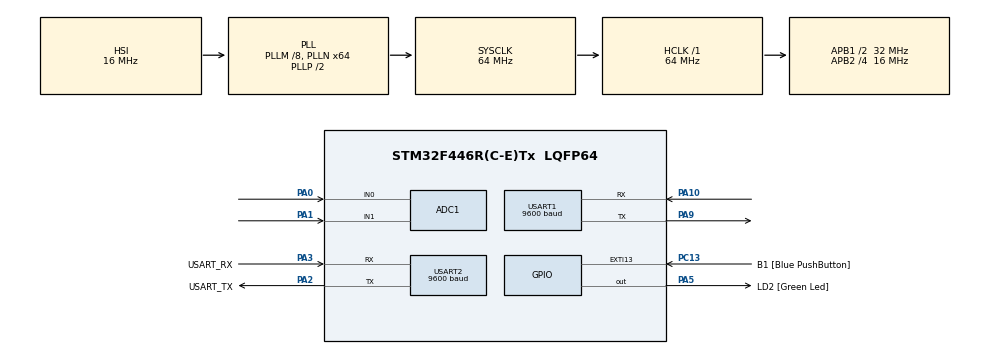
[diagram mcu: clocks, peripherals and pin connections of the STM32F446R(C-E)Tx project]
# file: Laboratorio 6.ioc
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ADC1.Channel-0\#ChannelRegularConversion=ADC_CHANNEL_1
ADC1.Channel-1\#ChannelRegularConversion=ADC_CHANNEL_0
ADC1.ClockPrescaler=ADC_CLOCK_SYNC_PCLK_DIV4
ADC1.ContinuousConvMode=ENABLE
ADC1.DMAContinuousRequests=ENABLE
ADC1.EOCSelection=ADC_EOC_SEQ_CONV
ADC1.InjNumberOfConversion=0
ADC1.NbrOfConversion=2
ADC1.NbrOfConversionFlag=1
ADC1.Rank-0\#ChannelRegularConversion=1
ADC1.Rank-1\#ChannelRegularConversion=2
ADC1.SamplingTime-0\#ChannelRegularConversion=ADC_SAMPLETIME_84CYCLES
ADC1.SamplingTime-1\#ChannelRegularConversion=ADC_SAMPLETIME_84CYCLES
ADC1.ScanConvMode=ENABLE
ADC1.master=1
Dma.ADC1.0.Direction=DMA_PERIPH_TO_MEMORY
Dma.ADC1.0.FIFOMode=DMA_FIFOMODE_ENABLE
Dma.ADC1.0.FIFOThreshold=DMA_FIFO_THRESHOLD_FULL
Dma.ADC1.0.Instance=DMA2_Stream0
Dma.ADC1.0.MemBurst=DMA_MBURST_SINGLE
Dma.ADC1.0.MemDataAlignment=DMA_MDATAALIGN_HALFWORD
Dma.ADC1.0.MemInc=DMA_MINC_ENABLE
Dma.ADC1.0.Mode=DMA_CIRCULAR
Dma.ADC1.0.PeriphBurst=DMA_PBURST_SINGLE
Dma.ADC1.0.PeriphDataAlignment=DMA_PDATAALIGN_HALFWORD
Dma.ADC1.0.PeriphInc=DMA_PINC_DISABLE
Dma.ADC1.0.Priority=DMA_PRIORITY_LOW
Dma.Request0=ADC1
Dma.Request1=USART2_TX
Dma.Request2=USART1_RX
Dma.USART1_RX.2.Direction=DMA_PERIPH_TO_MEMORY
Dma.USART1_RX.2.FIFOMode=DMA_FIFOMODE_DISABLE
Dma.USART1_RX.2.Instance=DMA2_Stream2
Dma.USART1_RX.2.MemDataAlignment=DMA_MDATAALIGN_BYTE
Dma.USART1_RX.2.MemInc=DMA_MINC_ENABLE
Dma.USART1_RX.2.Mode=DMA_NORMAL
Dma.USART1_RX.2.PeriphDataAlignment=DMA_PDATAALIGN_BYTE
Dma.USART1_RX.2.PeriphInc=DMA_PINC_DISABLE
Dma.USART1_RX.2.Priority=DMA_PRIORITY_LOW
Dma.USART2_TX.1.Direction=DMA_MEMORY_TO_PERIPH
Dma.USART2_TX.1.FIFOMode=DMA_FIFOMODE_DISABLE
Dma.USART2_TX.1.Instance=DMA1_Stream6
Dma.USART2_TX.1.MemDataAlignment=DMA_MDATAALIGN_BYTE
Dma.USART2_TX.1.MemInc=DMA_MINC_ENABLE
Dma.USART2_TX.1.Mode=DMA_NORMAL
Dma.USART2_TX.1.PeriphDataAlignment=DMA_PDATAALIGN_BYTE
Dma.USART2_TX.1.PeriphInc=DMA_PINC_DISABLE
Dma.USART2_TX.1.Priority=DMA_PRIORITY_LOW
Mcu.Family=STM32F4
Mcu.Name=STM32F446R(C-E)Tx
Mcu.Package=LQFP64
NVIC.DMA1_Stream6_IRQn=true\:0\:0\:false\:false\:true\:false\:true\:true
NVIC.DMA2_Stream0_IRQn=true\:0\:0\:false\:false\:true\:false\:true\:true
NVIC.DMA2_Stream2_IRQn=true\:0\:0\:false\:false\:true\:false\:true\:true
NVIC.PriorityGroup=NVIC_PRIORITYGROUP_0
NVIC.USART1_IRQn=true\:0\:0\:false\:false\:true\:true\:true\:true
NVIC.USART2_IRQn=true\:0\:0\:false\:false\:true\:true\:true\:true
PA0-WKUP.Signal=ADCx_IN0
PA1.Signal=ADCx_IN1
PA10.Mode=Asynchronous
PA10.Signal=USART1_RX
PA13.GPIO_Label=TMS
PA13.Mode=Serial_Wire
PA13.Signal=SYS_JTMS-SWDIO
PA14.GPIO_Label=TCK
PA14.Mode=Serial_Wire
PA14.Signal=SYS_JTCK-SWCLK
PA2.GPIO_Label=USART_TX
PA2.Mode=Asynchronous
PA2.Signal=USART2_TX
PA3.GPIO_Label=USART_RX
PA3.Mode=Asynchronous
PA3.Signal=USART2_RX
PA5.GPIO_Label=LD2 [Green Led]
PA5.Signal=GPIO_Output
PA9.Mode=Asynchronous
PA9.Signal=USART1_TX
PB3.GPIO_Label=SWO
PB3.Signal=SYS_JTDO-SWO
PC13.GPIO_Label=B1 [Blue PushButton]
PC13.GPIO_ModeDefaultEXTI=GPIO_MODE_IT_FALLING
PC13.Signal=GPXTI13
PC14-OSC32_IN.Mode=LSE-External-Oscillator
PC14-OSC32_IN.Signal=RCC_OSC32_IN
PC15-OSC32_OUT.Mode=LSE-External-Oscillator
PC15-OSC32_OUT.Signal=RCC_OSC32_OUT
PH0-OSC_IN.Mode=HSE-External-Oscillator
PH0-OSC_IN.Signal=RCC_OSC_IN
PH1-OSC_OUT.Mode=HSE-External-Oscillator
PH1-OSC_OUT.Signal=RCC_OSC_OUT
ProjectManager.HeapSize=0x200
ProjectManager.StackSize=0x400
ProjectManager.TargetToolchain=STM32CubeIDE
RCC.48MHZClocksFreq_Value=84000000
RCC.AHBFreq_Value=64000000
RCC.APB1CLKDivider=RCC_HCLK_DIV2
RCC.APB1Freq_Value=32000000
RCC.APB1TimFreq_Value=64000000
RCC.APB2CLKDivider=RCC_HCLK_DIV4
RCC.APB2Freq_Value=16000000
RCC.APB2TimFreq_Value=32000000
RCC.CortexFreq_Value=64000000
RCC.FLatency-AdvancedSettings=FLASH_LATENCY_2
RCC.HCLKFreq_Value=64000000
RCC.HSE_VALUE=8000000
RCC.HSI_VALUE=16000000
RCC.PLLM=8
RCC.PLLN=64
RCC.SYSCLKFreq_VALUE=64000000
RCC.SYSCLKSource=RCC_SYSCLKSOURCE_PLLCLK
RCC.USBFreq_Value=64000000
RCC.VCOOutputFreq_Value=128000000
SH.ADCx_IN0.0=ADC1_IN0,IN0
SH.ADCx_IN1.0=ADC1_IN1,IN1
USART1.BaudRate=9600
USART1.Mode=MODE_RX
USART1.VirtualMode=VM_ASYNC
USART2.BaudRate=9600
USART2.Mode=MODE_TX
USART2.VirtualMode=VM_ASYNC
board=NUCLEO-F446RE

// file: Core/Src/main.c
/* USER CODE BEGIN Header */
/**
  ******************************************************************************
  * @file           : main.c
  * @brief          : Main program body
  ******************************************************************************
  * @attention
  *
  * Copyright (c) 2025 STMicroelectronics.
  * All rights reserved.
  *
  * This software is licensed under terms that can be found in the LICENSE file
  * in the root directory of this software component.
  * If no LICENSE file comes with this software, it is provided AS-IS.
  *
  ******************************************************************************
  */
/* USER CODE END Header */
#include "main.h"

/* USER CODE BEGIN Includes */
#include <stdio.h>
#include <string.h>
/* USER CODE END Includes */

ADC_HandleTypeDef hadc1;
DMA_HandleTypeDef hdma_adc1;

UART_HandleTypeDef huart1;
UART_HandleTypeDef huart2;
DMA_HandleTypeDef hdma_usart1_rx;
DMA_HandleTypeDef hdma_usart2_tx;

/* USER CODE BEGIN PV */
uint8_t rxData;			// Para recibir el mensaje
uint8_t rxData1;  // Para recibir datos de USART1
char msg[50];			// Para enviar el mensaje
uint16_t adcValues[2];  // Para almacenar los valores de ADC X e Y
int flag = 0;
int x = 0;               // Variable global para el valor de X
int y = 0;               // Variable global para el valor de Y

/* USER CODE END PV */

void SystemClock_Config(void);
static void MX_GPIO_Init(void);
static void MX_DMA_Init(void);
static void MX_USART2_UART_Init(void);
static void MX_ADC1_Init(void);
static void MX_USART1_UART_Init(void);

int main(void)
{

  /* MCU Configuration--------------------------------------------------------*/

  /* Reset of all peripherals, Initializes the Flash interface and the Systick. */
  HAL_Init();

  /* Configure the system clock */
  SystemClock_Config();

  /* Initialize all configured peripherals */
  MX_GPIO_Init();
  MX_DMA_Init();
  MX_USART2_UART_Init();
  MX_ADC1_Init();
  MX_USART1_UART_Init();
  /* USER CODE BEGIN 2 */
  HAL_UART_Receive_IT(&huart2, &rxData, 1); // Activar interrupción UART
  HAL_UART_Receive_IT(&huart1, &rxData1, 1);
  HAL_ADC_Start_DMA(&hadc1, (uint32_t*)adcValues, 2); 	// Iniciar ADC con DMA

  /* USER CODE END 2 */

  /* Infinite loop */
  /* USER CODE BEGIN WHILE */
  while (1) {

	  flag = 0;
	  if (x > 3000) sprintf(msg, "CONTROL 2: R(Derecha)\r\n"), flag = 1;
	  else if (x < 1000) sprintf(msg, "CONTROL 2: L(Izquierda)\r\n"), flag = 1;
	  else if (y > 3000) sprintf(msg, "CONTROL 2: U(Arriba)\r\n"), flag = 1;
	  else if (y < 1000) sprintf(msg, "CONTROL 2: D(Abajo)\r\n"), flag = 1;

	  if (flag == 1) {
		  HAL_UART_Transmit_IT(&huart2, (uint8_t*)msg, strlen(msg));
		  HAL_Delay(500); // Espera para evitar spam en la terminal
	  }

    /* USER CODE END WHILE */

  }
}

void SystemClock_Config(void)
{
  RCC_OscInitTypeDef RCC_OscInitStruct = {0};
  RCC_ClkInitTypeDef RCC_ClkInitStruct = {0};

  /** Configure the main internal regulator output voltage
  */
  __HAL_RCC_PWR_CLK_ENABLE();
  __HAL_PWR_VOLTAGESCALING_CONFIG(PWR_REGULATOR_VOLTAGE_SCALE3);

  /** Initializes the RCC Oscillators according to the specified parameters
  * in the RCC_OscInitTypeDef structure.
  */
  RCC_OscInitStruct.OscillatorType = RCC_OSCILLATORTYPE_HSI;
  RCC_OscInitStruct.HSIState = RCC_HSI_ON;
  RCC_OscInitStruct.HSICalibrationValue = RCC_HSICALIBRATION_DEFAULT;
  RCC_OscInitStruct.PLL.PLLState = RCC_PLL_ON;
  RCC_OscInitStruct.PLL.PLLSource = RCC_PLLSOURCE_HSI;
  RCC_OscInitStruct.PLL.PLLM = 8;
  RCC_OscInitStruct.PLL.PLLN = 64;
  RCC_OscInitStruct.PLL.PLLP = RCC_PLLP_DIV2;
  RCC_OscInitStruct.PLL.PLLQ = 2;
  RCC_OscInitStruct.PLL.PLLR = 2;
  if (HAL_RCC_OscConfig(&RCC_OscInitStruct) != HAL_OK)
  {
    Error_Handler();
  }

  /** Initializes the CPU, AHB and APB buses clocks
  */
  RCC_ClkInitStruct.ClockType = RCC_CLOCKTYPE_HCLK|RCC_CLOCKTYPE_SYSCLK
                              |RCC_CLOCKTYPE_PCLK1|RCC_CLOCKTYPE_PCLK2;
  RCC_ClkInitStruct.SYSCLKSource = RCC_SYSCLKSOURCE_PLLCLK;
  RCC_ClkInitStruct.AHBCLKDivider = RCC_SYSCLK_DIV1;
  RCC_ClkInitStruct.APB1CLKDivider = RCC_HCLK_DIV2;
  RCC_ClkInitStruct.APB2CLKDivider = RCC_HCLK_DIV4;

  if (HAL_RCC_ClockConfig(&RCC_ClkInitStruct, FLASH_LATENCY_2) != HAL_OK)
  {
    Error_Handler();
  }
}

static void MX_ADC1_Init(void)
{

  ADC_ChannelConfTypeDef sConfig = {0};

  /** Configure the global features of the ADC (Clock, Resolution, Data Alignment and number of conversion)
  */
  hadc1.Instance = ADC1;
  hadc1.Init.ClockPrescaler = ADC_CLOCK_SYNC_PCLK_DIV4;
  hadc1.Init.Resolution = ADC_RESOLUTION_12B;
  hadc1.Init.ScanConvMode = ENABLE;
  hadc1.Init.ContinuousConvMode = ENABLE;
  hadc1.Init.DiscontinuousConvMode = DISABLE;
  hadc1.Init.ExternalTrigConvEdge = ADC_EXTERNALTRIGCONVEDGE_NONE;
  hadc1.Init.ExternalTrigConv = ADC_SOFTWARE_START;
  hadc1.Init.DataAlign = ADC_DATAALIGN_RIGHT;
  hadc1.Init.NbrOfConversion = 2;
  hadc1.Init.DMAContinuousRequests = ENABLE;
  hadc1.Init.EOCSelection = ADC_EOC_SEQ_CONV;
  if (HAL_ADC_Init(&hadc1) != HAL_OK)
  {
    Error_Handler();
  }

  /** Configure for the selected ADC regular channel its corresponding rank in the sequencer and its sample time.
  */
  sConfig.Channel = ADC_CHANNEL_1;
  sConfig.Rank = 1;
  sConfig.SamplingTime = ADC_SAMPLETIME_84CYCLES;
  if (HAL_ADC_ConfigChannel(&hadc1, &sConfig) != HAL_OK)
  {
    Error_Handler();
  }

  /** Configure for the selected ADC regular channel its corresponding rank in the sequencer and its sample time.
  */
  sConfig.Channel = ADC_CHANNEL_0;
  sConfig.Rank = 2;
  if (HAL_ADC_ConfigChannel(&hadc1, &sConfig) != HAL_OK)
  {
    Error_Handler();
  }

}

static void MX_USART1_UART_Init(void)
{

  huart1.Instance = USART1;
  huart1.Init.BaudRate = 9600;
  huart1.Init.WordLength = UART_WORDLENGTH_8B;
  huart1.Init.StopBits = UART_STOPBITS_1;
  huart1.Init.Parity = UART_PARITY_NONE;
  huart1.Init.Mode = UART_MODE_RX;
  huart1.Init.HwFlowCtl = UART_HWCONTROL_NONE;
  huart1.Init.OverSampling = UART_OVERSAMPLING_16;
  if (HAL_UART_Init(&huart1) != HAL_OK)
  {
    Error_Handler();
  }

}

static void MX_USART2_UART_Init(void)
{

  huart2.Instance = USART2;
  huart2.Init.BaudRate = 9600;
  huart2.Init.WordLength = UART_WORDLENGTH_8B;
  huart2.Init.StopBits = UART_STOPBITS_1;
  huart2.Init.Parity = UART_PARITY_NONE;
  huart2.Init.Mode = UART_MODE_TX;
  huart2.Init.HwFlowCtl = UART_HWCONTROL_NONE;
  huart2.Init.OverSampling = UART_OVERSAMPLING_16;
  if (HAL_UART_Init(&huart2) != HAL_OK)
  {
    Error_Handler();
  }

}

static void MX_DMA_Init(void)
{

  /* DMA controller clock enable */
  __HAL_RCC_DMA2_CLK_ENABLE();
  __HAL_RCC_DMA1_CLK_ENABLE();

  /* DMA interrupt init */
  /* DMA1_Stream6_IRQn interrupt configuration */
  HAL_NVIC_SetPriority(DMA1_Stream6_IRQn, 0, 0);
  HAL_NVIC_EnableIRQ(DMA1_Stream6_IRQn);
  /* DMA2_Stream0_IRQn interrupt configuration */
  HAL_NVIC_SetPriority(DMA2_Stream0_IRQn, 0, 0);
  HAL_NVIC_EnableIRQ(DMA2_Stream0_IRQn);
  /* DMA2_Stream2_IRQn interrupt configuration */
  HAL_NVIC_SetPriority(DMA2_Stream2_IRQn, 0, 0);
  HAL_NVIC_EnableIRQ(DMA2_Stream2_IRQn);

}

static void MX_GPIO_Init(void)
{
  GPIO_InitTypeDef GPIO_InitStruct = {0};

  /* GPIO Ports Clock Enable */
  __HAL_RCC_GPIOC_CLK_ENABLE();
  __HAL_RCC_GPIOH_CLK_ENABLE();
  __HAL_RCC_GPIOA_CLK_ENABLE();
  __HAL_RCC_GPIOB_CLK_ENABLE();

  /*Configure GPIO pin Output Level */
  HAL_GPIO_WritePin(LD2_GPIO_Port, LD2_Pin, GPIO_PIN_RESET);

  /*Configure GPIO pin : B1_Pin */
  GPIO_InitStruct.Pin = B1_Pin;
  GPIO_InitStruct.Mode = GPIO_MODE_IT_FALLING;
  GPIO_InitStruct.Pull = GPIO_NOPULL;
  HAL_GPIO_Init(B1_GPIO_Port, &GPIO_InitStruct);

  /*Configure GPIO pin : LD2_Pin */
  GPIO_InitStruct.Pin = LD2_Pin;
  GPIO_InitStruct.Mode = GPIO_MODE_OUTPUT_PP;
  GPIO_InitStruct.Pull = GPIO_NOPULL;
  GPIO_InitStruct.Speed = GPIO_SPEED_FREQ_LOW;
  HAL_GPIO_Init(LD2_GPIO_Port, &GPIO_InitStruct);

}

/* USER CODE BEGIN 4 */
void HAL_UART_RxCpltCallback(UART_HandleTypeDef *huart) {
    if (huart->Instance == USART1) {
    	switch(rxData1) {
    	    case 'A': sprintf(msg, "CONTROL 1: A(Accion A)\r\n"); break;
    	    case 'B': sprintf(msg, "CONTROL 1: B(Accion B)\r\n"); break;
    	    case 'U': sprintf(msg, "CONTROL 1: U(Arriba)\r\n"); break;
    	    case 'D': sprintf(msg, "CONTROL 1: D(Abajo)\r\n"); break;
    	    case 'L': sprintf(msg, "CONTROL 1: L(Izquierda)\r\n"); break;
    	    case 'R': sprintf(msg, "CONTROL 1: R(Derecha)\r\n"); break;
    	}
        HAL_UART_Transmit_IT(&huart2, (uint8_t*)msg, strlen(msg));
        HAL_UART_Receive_IT(&huart1, &rxData1, 1); // Reiniciar recepción para USART1
    }
}

void HAL_ADC_ConvCpltCallback(ADC_HandleTypeDef *hadc) {
    if (hadc->Instance == ADC1) {
        // Asignar los valores de ADC a las variables globales
        x = adcValues[0];
        y = adcValues[1];
    }
}

/* USER CODE END 4 */

void Error_Handler(void)
{
  __disable_irq();
  while (1)
  {
  }
}
